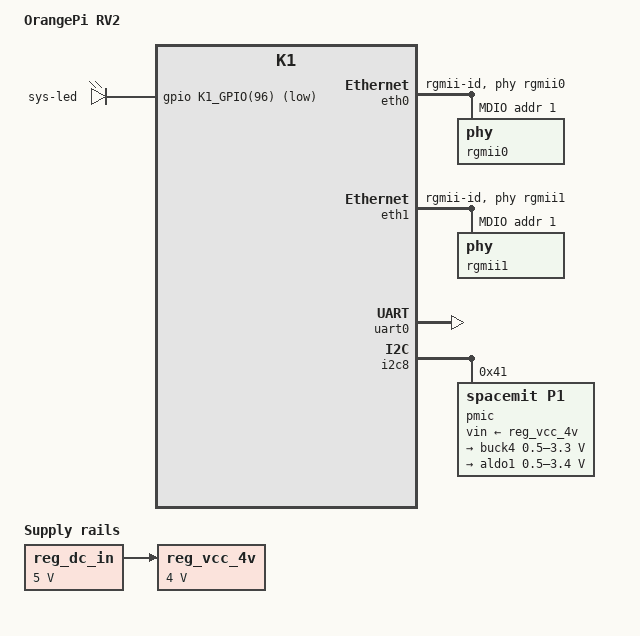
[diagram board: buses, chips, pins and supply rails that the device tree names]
// SPDX-License-Identifier: (GPL-2.0 OR MIT)
/*
 * Copyright (C) 2024 Yangyu Chen <cyy@cyyself.name>
 * Copyright (C) 2025 Hendrik Hamerlinck <hendrik.hamerlinck@hammernet.be>
 */

/dts-v1/;

#include "k1.dtsi"
#include "k1-pinctrl.dtsi"

/ {
	model = "OrangePi RV2";
	compatible = "xunlong,orangepi-rv2", "spacemit,k1";

	aliases {
		serial0 = &uart0;
		ethernet0 = &eth0;
		ethernet1 = &eth1;
	};

	reg_dc_in: dc-in-5v {
		compatible = "regulator-fixed";
		regulator-name = "dc_in_5v";
		regulator-min-microvolt = <5000000>;
		regulator-max-microvolt = <5000000>;
		regulator-boot-on;
		regulator-always-on;
	};

	reg_vcc_4v: vcc-4v {
		compatible = "regulator-fixed";
		regulator-name = "vcc_4v";
		regulator-min-microvolt = <4000000>;
		regulator-max-microvolt = <4000000>;
		regulator-boot-on;
		regulator-always-on;
		vin-supply = <&reg_dc_in>;
	};

	chosen {
		stdout-path = "serial0";
	};

	leds {
		compatible = "gpio-leds";

		led1 {
			label = "sys-led";
			gpios = <&gpio K1_GPIO(96) GPIO_ACTIVE_LOW>;
			linux,default-trigger = "heartbeat";
			default-state = "on";
		};
	};
};

&eth0 {
	phy-handle = <&rgmii0>;
	phy-mode = "rgmii-id";
	pinctrl-names = "default";
	pinctrl-0 = <&gmac0_cfg>;
	rx-internal-delay-ps = <0>;
	tx-internal-delay-ps = <0>;
	status = "okay";

	mdio-bus {
		#address-cells = <0x1>;
		#size-cells = <0x0>;

		reset-gpios = <&gpio K1_GPIO(110) GPIO_ACTIVE_LOW>;
		reset-delay-us = <10000>;
		reset-post-delay-us = <100000>;

		rgmii0: phy@1 {
			reg = <0x1>;
			motorcomm,auto-sleep-disabled;
		};
	};
};

&eth1 {
	phy-handle = <&rgmii1>;
	phy-mode = "rgmii-id";
	pinctrl-names = "default";
	pinctrl-0 = <&gmac1_cfg>;
	rx-internal-delay-ps = <0>;
	tx-internal-delay-ps = <250>;
	status = "okay";

	mdio-bus {
		#address-cells = <0x1>;
		#size-cells = <0x0>;

		reset-gpios = <&gpio K1_GPIO(115) GPIO_ACTIVE_LOW>;
		reset-delay-us = <10000>;
		reset-post-delay-us = <100000>;

		rgmii1: phy@1 {
			reg = <0x1>;
			motorcomm,auto-sleep-disabled;
		};
	};
};

&pdma {
	status = "okay";
};

&uart0 {
	pinctrl-names = "default";
	pinctrl-0 = <&uart0_2_cfg>;
	status = "okay";
};

&i2c8 {
	pinctrl-names = "default";
	pinctrl-0 = <&i2c8_cfg>;
	status = "okay";

	pmic@41 {
		compatible = "spacemit,p1";
		reg = <0x41>;
		interrupts = <64>;
		vin-supply = <&reg_vcc_4v>;

		regulators {
			buck4: buck4 {
				regulator-min-microvolt = <500000>;
				regulator-max-microvolt = <3300000>;
				regulator-ramp-delay = <5000>;
				regulator-always-on;
			};

			aldo1: aldo1 {
				regulator-min-microvolt = <500000>;
				regulator-max-microvolt = <3400000>;
				regulator-boot-on;
				regulator-always-on;
			};
		};
	};
};
